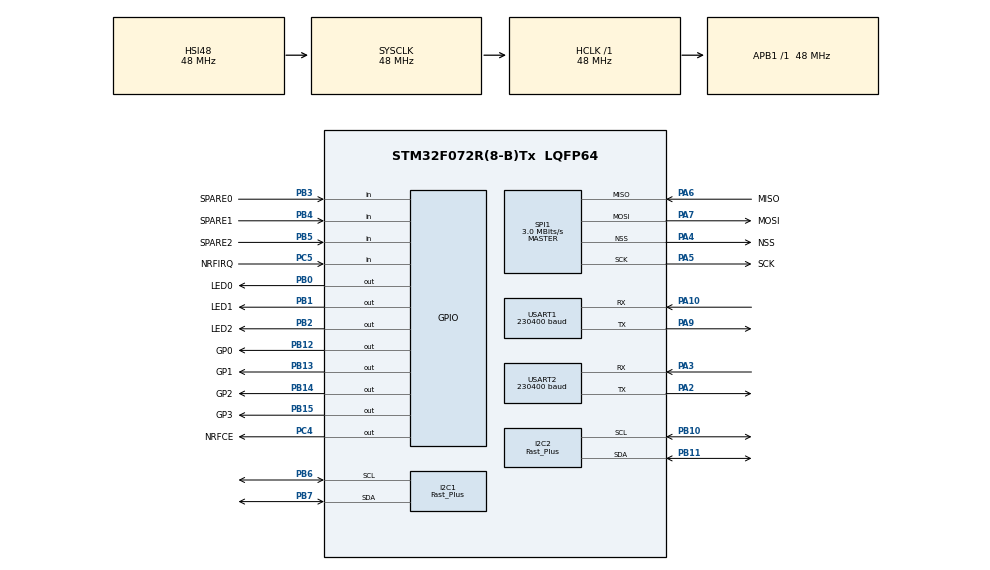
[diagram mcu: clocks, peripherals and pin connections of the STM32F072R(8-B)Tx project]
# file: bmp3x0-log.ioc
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I2C1.I2C_Speed_Mode=I2C_Fast_Plus
I2C1.Timing=0x00000001
I2C2.I2C_Speed_Mode=I2C_Fast_Plus
I2C2.Timing=0x20000209
Mcu.Family=STM32F0
Mcu.Name=STM32F072R(8-B)Tx
Mcu.Package=LQFP64
NVIC.TIM17_IRQn=true\:0\:0\:false\:false\:true\:true\:true
PA10.Mode=Asynchronous
PA10.Signal=USART1_RX
PA2.Mode=Asynchronous
PA2.Signal=USART2_TX
PA3.Mode=Asynchronous
PA3.Signal=USART2_RX
PA4.GPIO_Label=NSS
PA4.Mode=NSS_Signal_Hard_Output
PA4.Signal=SPI1_NSS
PA5.GPIO_Label=SCK
PA5.Mode=Full_Duplex_Master
PA5.Signal=SPI1_SCK
PA6.GPIO_Label=MISO
PA6.Mode=Full_Duplex_Master
PA6.Signal=SPI1_MISO
PA7.GPIO_Label=MOSI
PA7.Mode=Full_Duplex_Master
PA7.Signal=SPI1_MOSI
PA9.Mode=Asynchronous
PA9.Signal=USART1_TX
PB0.GPIO_Label=LED0
PB0.Signal=GPIO_Output
PB1.GPIO_Label=LED1
PB1.Signal=GPIO_Output
PB10.GPIO_Pu=GPIO_PULLUP
PB10.Mode=I2C
PB10.Signal=I2C2_SCL
PB11.GPIO_Pu=GPIO_PULLUP
PB11.Mode=I2C
PB11.Signal=I2C2_SDA
PB12.GPIO_Label=GP0
PB12.Signal=GPIO_Output
PB13.GPIO_Label=GP1
PB13.Signal=GPIO_Output
PB14.GPIO_Label=GP2
PB14.Signal=GPIO_Output
PB15.GPIO_Label=GP3
PB15.Signal=GPIO_Output
PB2.GPIO_Label=LED2
PB2.Signal=GPIO_Output
PB3.GPIO_Label=SPARE0
PB3.Signal=GPIO_Input
PB4.GPIO_Label=SPARE1
PB4.Signal=GPIO_Input
PB5.GPIO_Label=SPARE2
PB5.Signal=GPIO_Input
PB6.GPIO_Pu=GPIO_PULLUP
PB6.Mode=I2C
PB6.Signal=I2C1_SCL
PB7.GPIO_Pu=GPIO_PULLUP
PB7.Mode=I2C
PB7.Signal=I2C1_SDA
PC4.GPIO_Label=NRFCE
PC4.Signal=GPIO_Output
PC5.GPIO_Label=NRFIRQ
PC5.Signal=GPIO_Input
PF0-OSC_IN.Mode=HSE-External-Oscillator
PF0-OSC_IN.Signal=RCC_OSC_IN
PF1-OSC_OUT.Mode=HSE-External-Oscillator
PF1-OSC_OUT.Signal=RCC_OSC_OUT
ProjectManager.HeapSize=0x200
ProjectManager.StackSize=0x600
ProjectManager.TargetToolchain=SW4STM32
RCC.AHBFreq_Value=48000000
RCC.APB1Freq_Value=48000000
RCC.APB1TimFreq_Value=48000000
RCC.HCLKFreq_Value=48000000
RCC.PLLMUL=RCC_PLL_MUL6
RCC.PLLSourceVirtual=RCC_PLLSOURCE_HSE
RCC.SYSCLKFreq_VALUE=48000000
RCC.SYSCLKSource=RCC_SYSCLKSOURCE_HSI48
SPI1.BaudRatePrescaler=SPI_BAUDRATEPRESCALER_16
SPI1.CalculateBaudRate=3.0 MBits/s
SPI1.DataSize=SPI_DATASIZE_8BIT
SPI1.Direction=SPI_DIRECTION_2LINES
SPI1.Mode=SPI_MODE_MASTER
SPI1.VirtualNSS=VM_NSSHARD
SPI1.VirtualType=VM_MASTER
TIM16.Channel=TIM_CHANNEL_1
TIM16.Prescaler=47
TIM17.AutoReloadPreload=TIM_AUTORELOAD_PRELOAD_ENABLE
TIM17.Channel=TIM_CHANNEL_1
TIM17.Period=2500
TIM17.Prescaler=47999
USART1.BaudRate=230400
USART1.VirtualMode-Asynchronous=VM_ASYNC
USART2.BaudRate=230400
USART2.VirtualMode-Asynchronous=VM_ASYNC
VP_TIM16_VS_ClockSourceINT.Mode=Enable_Timer
VP_TIM16_VS_no_output1.Mode=Output Compare1 No Output
VP_TIM17_VS_ClockSourceINT.Mode=Enable_Timer
VP_TIM17_VS_no_output1.Mode=Output Compare1 No Output
board=custom

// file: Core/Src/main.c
/* USER CODE BEGIN Header */
/**
  ******************************************************************************
  * @file           : main.c
  * @brief          : Main program body
  ******************************************************************************
  * @attention
  *
  * <h2><center>&copy; Copyright (c) 2021 STMicroelectronics.
  * All rights reserved.</center></h2>
  *
  * This software component is licensed by ST under BSD 3-Clause license,
  * the "License"; You may not use this file except in compliance with the
  * License. You may obtain a copy of the License at:
  *                        opensource.org/licenses/BSD-3-Clause
  *
  ******************************************************************************
  */
/* USER CODE END Header */
#include "main.h"
#include "i2c.h"
#include "spi.h"
#include "tim.h"
#include "usart.h"
#include "gpio.h"

/* USER CODE BEGIN Includes */

#include "bmp3.h"
#include <stdio.h>
#include "retarget.h"
/* USER CODE END Includes */

/* USER CODE BEGIN PD */
#define SENSOR_ADDRESS 0x77
/* USER CODE END PD */

/* USER CODE BEGIN PV */
static uint8_t sensor_fifo[512 + 4];
volatile uint8_t tick = 0;
static struct bmp3_data result[80];

/* USER CODE END PV */

void SystemClock_Config(void);

/* USER CODE BEGIN PFP */

void User_TIM_PeriodElapsedCallback(TIM_HandleTypeDef *htim);

/*!
 * @brief This function provides the delay for required time (Microseconds) as per the input provided in some of the
 * APIs.
 */
void bmm150_user_delay_us(uint32_t period_us, void *intf_ptr);

/*!
 * @brief This function is for writing the sensor's registers through I2C bus.
 */
int8_t bmm150_user_i2c_reg_write(uint8_t reg_addr, const uint8_t *reg_data, uint32_t length, void *intf_ptr);

/*!
 * @brief This function is for reading the sensor's registers through I2C bus.
 */
int8_t bmm150_user_i2c_reg_read(uint8_t reg_addr, uint8_t *reg_data, uint32_t length, void *intf_ptr);

/* USER CODE END PFP */

/* USER CODE BEGIN 0 */
/*!
 * @brief       Function to analyze the sensor data
 *
 * @param[in]   data   Structure instance of bmp3_data(compensated temp & press values)
 *
 * @return      Error code
 * @retval      0   Success
 */
static int8_t analyze_sensor_data(const struct bmp3_data *data);

/*!
 * @brief       Function to calculate the CRC of the trimming parameters.
 *
 * @param[in]   seed   CRC of each register
 * @param[in]   data   register data.
 *
 * @return      calculated CRC
 */
static int8_t cal_crc(uint8_t seed, uint8_t data);

/*!
 * @brief Function to validate the trimming parameters
 *
 * @param [in] dev Structure instance of bmp3_dev structure.
 *
 * @return      Error code
 * @retval      0   Success
 *
 */
static int8_t validate_trimming_param(struct bmp3_dev *dev);

/*!
 * @brief       Self-test API for the BMP38X
 */
int8_t bmp3_selftest_check(struct bmp3_dev *dev);

/* USER CODE END 0 */

int main(void) {
    /* USER CODE BEGIN 1 */
    uint8_t dev_okay = 0;
    struct bmp3_dev sensor;
    struct bmp3_fifo fifo_struct;
    /* USER CODE END 1 */

    /* MCU Configuration--------------------------------------------------------*/

    /* Reset of all peripherals, Initializes the Flash interface and the Systick. */
    HAL_Init();

    /* Configure the system clock */
    SystemClock_Config();

    /* Initialize all configured peripherals */
    MX_GPIO_Init();
    MX_I2C1_Init();
    MX_I2C2_Init();
    MX_SPI1_Init();
    MX_TIM17_Init();
    MX_USART1_UART_Init();
    MX_USART2_UART_Init();
    MX_TIM16_Init();
    /* USER CODE BEGIN 2 */
    RetargetInit(&huart1);
    HAL_TIM_RegisterCallback(&htim17, HAL_TIM_PERIOD_ELAPSED_CB_ID, User_TIM_PeriodElapsedCallback);
    HAL_TIM_Base_Start_IT(&htim17);
    HAL_NVIC_SetPriority(TIM17_IRQn, 0, 0);
    HAL_NVIC_EnableIRQ(TIM17_IRQn);
    HAL_TIM_Base_Start(&htim16);
    HAL_I2C_MspInit(&hi2c1);
    HAL_I2C_MspInit(&hi2c2);
    if (HAL_I2C_IsDeviceReady(&hi2c1, SENSOR_ADDRESS << 1, 2, 100) == HAL_OK) {
        dev_okay = 1;
        sensor.intf_ptr = &hi2c1;

    }
    if (HAL_I2C_IsDeviceReady(&hi2c2, SENSOR_ADDRESS << 1, 2, 100) == HAL_OK) {
        dev_okay = 1;
        sensor.intf_ptr = &hi2c2;

    }

    sensor.delay_us = bmm150_user_delay_us;
    sensor.read = bmm150_user_i2c_reg_read;
    sensor.write = bmm150_user_i2c_reg_write;
    sensor.intf = BMP3_I2C_INTF;
    sensor.fifo = &fifo_struct;
    sensor.fifo->data.buffer = sensor_fifo;

    if (bmp3_selftest_check(&sensor) == BMP3_SENSOR_OK) {
        printf("Sensor is OK\n");
        sensor.settings.press_en = BMP3_ENABLE;
        sensor.settings.temp_en = BMP3_ENABLE;

        /* Select the output data rate and over sampling settings for pressure and temperature */
        sensor.settings.odr_filter.press_os = BMP3_OVERSAMPLING_16X;
        sensor.settings.odr_filter.temp_os = BMP3_OVERSAMPLING_2X;
        sensor.settings.odr_filter.odr = BMP3_ODR_25_HZ;

        sensor.fifo->settings.mode = 1;
        sensor.fifo->settings.temp_en = 1;
        sensor.fifo->settings.press_en = 1;
        sensor.fifo->settings.time_en = 0;
        sensor.fifo->settings.stop_on_full_en = 0;
        sensor.fifo->settings.down_sampling = BMP3_FIFO_NO_SUBSAMPLING;
        sensor.fifo->data.req_frames = 80;

        /* Assign the settings which needs to be set in the sensor */

        if (bmp3_set_sensor_settings(
                BMP3_SEL_PRESS_EN | BMP3_SEL_TEMP_EN | BMP3_SEL_PRESS_OS | BMP3_SEL_TEMP_OS | BMP3_SEL_ODR, &sensor) ==
            BMP3_SENSOR_OK) {
//            HAL_GPIO_TogglePin(LED0_GPIO_Port, LED1_Pin);
            printf("Sensor settings set\n");
            sensor.settings.op_mode = BMP3_MODE_NORMAL;
            if (bmp3_set_op_mode(&sensor) == BMP3_SENSOR_OK) {
                printf("Sensor operational mode set\n");
                if (bmp3_set_fifo_settings(BMP3_SEL_FIFO_MODE | BMP3_SEL_FIFO_TIME_EN | BMP3_SEL_FIFO_TEMP_EN
                                           | BMP3_SEL_FIFO_PRESS_EN | BMP3_SEL_FIFO_STOP_ON_FULL_EN, &sensor) ==
                    BMP3_SENSOR_OK) {
                    printf("Sensor fifo is set\n");
                };
                HAL_Delay(100);
//                bmp3_set_fifo_settings(BMP3_SEL_FIFO_MODE |
//                                       BMP3_SEL_FIFO_PRESS_EN |
//                                       BMP3_SEL_FIFO_TEMP_EN |
//                                       BMP3_SEL_FIFO_TIME_EN, &sensor);
            }
        }
    }

    /* USER CODE END 2 */

    /* Infinite loop */
    /* USER CODE BEGIN WHILE */
#pragma clang diagnostic push
#pragma ide diagnostic ignored "EndlessLoop"
    while (1) {
        /* USER CODE END WHILE */

        /* USER CODE BEGIN 3 */

        if (tick) {
            tick = 0;
            if (dev_okay == 0) {
                HAL_GPIO_TogglePin(LED0_GPIO_Port, LED0_Pin);
            } else {
                HAL_GPIO_WritePin(LED2_GPIO_Port, LED2_Pin, GPIO_PIN_SET);
                bmp3_get_fifo_data(&sensor);
                bmp3_extract_fifo_data(result, &sensor);
//            printf("%d bytes downloaded. Frames: %d Time: %ld\n", sensor.fifo->data.byte_count,
//                   sensor.fifo->data.parsed_frames, sensor.fifo->data.sensor_time);
                for (int i = 0; i < sensor.fifo->data.parsed_frames; ++i) {
                    printf("%02d %lld %lld\n", i, result[i].pressure, result[i].temperature);
//                    printf("%lf %lf\n", result[i].pressure, result[i].temperature);
                }
                HAL_GPIO_WritePin(LED2_GPIO_Port, LED2_Pin, GPIO_PIN_RESET);
            }
        }
    }

#pragma clang diagnostic pop
    /* USER CODE END 3 */
}

void SystemClock_Config(void) {
    RCC_OscInitTypeDef RCC_OscInitStruct = {0};
    RCC_ClkInitTypeDef RCC_ClkInitStruct = {0};
    RCC_PeriphCLKInitTypeDef PeriphClkInit = {0};

    /** Initializes the RCC Oscillators according to the specified parameters
    * in the RCC_OscInitTypeDef structure.
    */
    RCC_OscInitStruct.OscillatorType = RCC_OSCILLATORTYPE_HSI | RCC_OSCILLATORTYPE_HSI48;
    RCC_OscInitStruct.HSIState = RCC_HSI_ON;
    RCC_OscInitStruct.HSI48State = RCC_HSI48_ON;
    RCC_OscInitStruct.HSICalibrationValue = RCC_HSICALIBRATION_DEFAULT;
    RCC_OscInitStruct.PLL.PLLState = RCC_PLL_NONE;
    if (HAL_RCC_OscConfig(&RCC_OscInitStruct) != HAL_OK) {
        Error_Handler();
    }
    /** Initializes the CPU, AHB and APB buses clocks
    */
    RCC_ClkInitStruct.ClockType = RCC_CLOCKTYPE_HCLK | RCC_CLOCKTYPE_SYSCLK
                                  | RCC_CLOCKTYPE_PCLK1;
    RCC_ClkInitStruct.SYSCLKSource = RCC_SYSCLKSOURCE_HSI48;
    RCC_ClkInitStruct.AHBCLKDivider = RCC_SYSCLK_DIV1;
    RCC_ClkInitStruct.APB1CLKDivider = RCC_HCLK_DIV1;

    if (HAL_RCC_ClockConfig(&RCC_ClkInitStruct, FLASH_LATENCY_1) != HAL_OK) {
        Error_Handler();
    }
    PeriphClkInit.PeriphClockSelection = RCC_PERIPHCLK_USART1 | RCC_PERIPHCLK_USART2
                                         | RCC_PERIPHCLK_I2C1;
    PeriphClkInit.Usart1ClockSelection = RCC_USART1CLKSOURCE_PCLK1;
    PeriphClkInit.Usart2ClockSelection = RCC_USART2CLKSOURCE_PCLK1;
    PeriphClkInit.I2c1ClockSelection = RCC_I2C1CLKSOURCE_HSI;
    if (HAL_RCCEx_PeriphCLKConfig(&PeriphClkInit) != HAL_OK) {
        Error_Handler();
    }
}

/* USER CODE BEGIN 4 */
void bmm150_user_delay_us(uint32_t period_us, void *intf_ptr) {
    __HAL_TIM_SET_COUNTER(&htim16, 0);  // set the counter value a 0
    while (__HAL_TIM_GET_COUNTER(&htim16) <
           period_us);  // wait for the counter to reach the us input in the parameter
    /* Wait for a period amount of microseconds. */
}

// typedef BMP3_INTF_RET_TYPE (*bmp3_write_fptr_t)(uint8_t reg_addr, const uint8_t *read_data, uint32_t len, void *intf_ptr);

int8_t bmm150_user_i2c_reg_write(uint8_t reg_addr, const uint8_t *reg_data, uint32_t length, void *intf_ptr) {
    uint8_t *reg_data_v;
    reg_data_v = (uint8_t *) reg_data;
    /* Write to registers using I2C. Return 0 for a successful execution. */
    if (HAL_I2C_Mem_Write(intf_ptr, SENSOR_ADDRESS << 1, reg_addr, 1, reg_data_v, length, 1000) == HAL_OK) {
        return BMP3_OK;
    };
    return BMP3_E_COMM_FAIL;
}

int8_t bmm150_user_i2c_reg_read(uint8_t reg_addr, uint8_t *reg_data, uint32_t length, void *intf_ptr) {

    /* Read from registers using I2C. Return 0 for a successful execution. */
    if (HAL_I2C_Mem_Read(intf_ptr, SENSOR_ADDRESS << 1, reg_addr, 1, reg_data, length, 1000) == HAL_OK) {
        return BMP3_OK;
    };
    return BMP3_E_COMM_FAIL;
}

/*!
* @brief  Function to analyze the sensor data
*/
static int8_t analyze_sensor_data(const struct bmp3_data *sens_data) {
    int8_t rslt = BMP3_SENSOR_OK;

    if ((sens_data->temperature < BMP3_MIN_TEMPERATURE) || (sens_data->temperature > BMP3_MAX_TEMPERATURE)) {
        rslt = BMP3_IMPLAUSIBLE_TEMPERATURE;
    }

    if (rslt == BMP3_SENSOR_OK) {
        if ((sens_data->pressure / 100 < BMP3_MIN_PRESSURE) ||
            (sens_data->pressure / 100 > BMP3_MAX_PRESSURE)) {
            rslt = BMP3_IMPLAUSIBLE_PRESSURE;
        }
    }

    return rslt;
}

/*
 * @brief Function to verify the trimming parameters
 * */
static int8_t validate_trimming_param(struct bmp3_dev *dev) {
    int8_t rslt;
    uint8_t crc = 0xFF;
    uint8_t stored_crc;
    uint8_t trim_param[21];
    uint8_t i;

    rslt = bmp3_get_regs(BMP3_REG_CALIB_DATA, trim_param, 21, dev);
    if (rslt == BMP3_SENSOR_OK) {
        for (i = 0; i < 21; i++) {
            crc = (uint8_t) cal_crc(crc, trim_param[i]);
        }

        crc = (crc ^ 0xFF);
        rslt = bmp3_get_regs(0x30, &stored_crc, 1, dev);
        if (stored_crc != crc) {
            rslt = BMP3_TRIMMING_DATA_OUT_OF_BOUND;
        }
    }

    return rslt;

}

/*
 * @brief function to calculate CRC for the trimming parameters
 * */
static int8_t cal_crc(uint8_t seed, uint8_t data) {
    int8_t poly = 0x1D;
    int8_t var2;
    uint8_t i;

    for (i = 0; i < 8; i++) {
        if ((seed & 0x80) ^ (data & 0x80)) {
            var2 = 1;
        } else {
            var2 = 0;
        }

        seed = (seed & 0x7F) << 1;
        data = (data & 0x7F) << 1;
        seed = seed ^ (uint8_t) (poly * var2);
    }

    return (int8_t) seed;
}

int8_t bmp3_selftest_check(struct bmp3_dev *dev) {
    int8_t rslt;

    /* Variable used to select the sensor component */
    uint8_t sensor_comp;

    /* Variable used to store the compensated data */
    struct bmp3_data data = {0};

    /* Used to select the settings user needs to change */
    uint16_t settings_sel;

    /* Reset the sensor */
    rslt = bmp3_soft_reset(dev);
    if (rslt == BMP3_SENSOR_OK) {
        rslt = bmp3_init(dev);

        if (rslt == BMP3_E_COMM_FAIL || rslt == BMP3_E_DEV_NOT_FOUND) {
            rslt = BMP3_COMMUNICATION_ERROR_OR_WRONG_DEVICE;
        }

        if (rslt == BMP3_SENSOR_OK) {
            rslt = validate_trimming_param(dev);
        }

        if (rslt == BMP3_SENSOR_OK) {
            /* Select the pressure and temperature sensor to be enabled */
            dev->settings.press_en = BMP3_ENABLE;
            dev->settings.temp_en = BMP3_ENABLE;

            /* Select the output data rate and over sampling settings for pressure and temperature */
            dev->settings.odr_filter.press_os = BMP3_NO_OVERSAMPLING;
            dev->settings.odr_filter.temp_os = BMP3_NO_OVERSAMPLING;
            dev->settings.odr_filter.odr = BMP3_ODR_25_HZ;

            /* Assign the settings which needs to be set in the sensor */
            settings_sel =
                    BMP3_SEL_PRESS_EN | BMP3_SEL_TEMP_EN | BMP3_SEL_PRESS_OS | BMP3_SEL_TEMP_OS | BMP3_SEL_ODR;
            rslt = bmp3_set_sensor_settings(settings_sel, dev);
            if (rslt == BMP3_SENSOR_OK) {
                dev->settings.op_mode = BMP3_MODE_NORMAL;
                rslt = bmp3_set_op_mode(dev);
                if (rslt == BMP3_SENSOR_OK) {
                    dev->delay_us(40000, dev->intf_ptr);

                    /* Sensor component selection */
                    sensor_comp = BMP3_PRESS | BMP3_TEMP;

                    /* Temperature and Pressure data are read and stored in the bmp3_data instance */
                    rslt = bmp3_get_sensor_data(sensor_comp, &data, dev);
                }
            }
        }

        if (rslt == BMP3_SENSOR_OK) {
            rslt = analyze_sensor_data(&data);

            /* Set the power mode to sleep mode */
            if (rslt == BMP3_SENSOR_OK) {
                dev->settings.op_mode = BMP3_MODE_SLEEP;
                rslt = bmp3_set_op_mode(dev);
            }
        }
    }

    return rslt;
}

/** @}*/

void User_TIM_PeriodElapsedCallback(TIM_HandleTypeDef *htim) {
    if (htim == &htim17) {
        tick = 1;
    }
}

/* USER CODE END 4 */

void Error_Handler(void) {
    __disable_irq();
    while (1) {
    }
}

/************************ (C) COPYRIGHT STMicroelectronics *****END OF FILE****/
